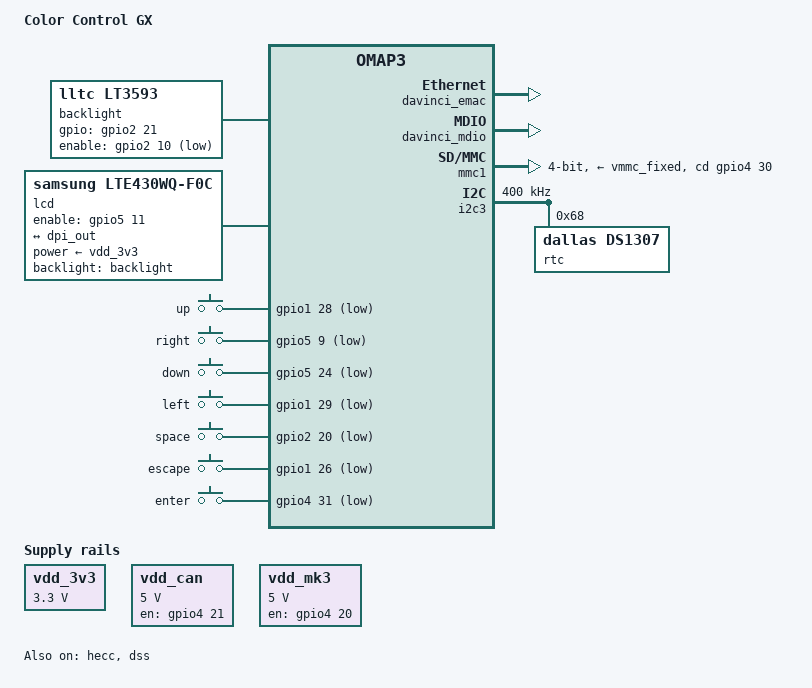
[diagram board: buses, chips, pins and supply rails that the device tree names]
/dts-v1/;

#include "am3517-tam3517.dtsi"
#include <dt-bindings/input/input.h>

/ {
	model = "Color Control GX";
	compatible = "technexion,am3517-tam3517", "ti,am3517", "ti,omap3";

	aliases {
		display0 = &lcd0;
	};

	reserved-memory {
		#address-cells = <1>;
		#size-cells = <1>;
		ranges;

		fb0_mem: framebuffer@8fe00000 {
			reg = <0x8fe00000 0x200000>;
			no-map;
		};
	};

	backlight: backlight {
		status = "okay";
		compatible = "lltc,lt3593";
		pinctrl-names = "default";
		pinctrl-0 = <&backlight_pins>;
		gpios = <&gpio2 21 GPIO_ACTIVE_HIGH>;
		enable-gpio = <&gpio2 10 GPIO_ACTIVE_LOW>;
		default-brightness-level = <31>;
		default-on;
	};

	lcd0: display@0 {
		compatible = "samsung,lte430wq-f0c", "panel-dpi";
		label = "lcd";

		pinctrl-names = "default";
		pinctrl-0 = <&lcd_pins>;
		enable-gpios = <&gpio5 11 GPIO_ACTIVE_HIGH>;	/* gpio_139 */
		power-supply = <&vdd_3v3>;

		backlight = <&backlight>;

		port {
			lcd_in: endpoint {
				remote-endpoint = <&dpi_out>;
			};
		};

		panel-timing {
			clock-frequency = <9000000>;
			hactive = <480>;
			vactive = <272>;
			hfront-porch = <3>;
			hback-porch = <2>;
			hsync-len = <42>;
			vback-porch = <2>;
			vfront-porch = <3>;
			vsync-len = <11>;

			hsync-active = <0>;
			vsync-active = <0>;
			de-active = <1>;
			pixelclk-active = <1>;
		};
	};

	gpio-keys {
		compatible = "gpio-keys";
		autorepeat;

		pinctrl-names = "default";
		pinctrl-0 = <&gpio_keys_pins &gpio_keys_pins2>;

		up {
			label = "up";
			gpios = <&gpio1 28 GPIO_ACTIVE_LOW>;	/* gpio_28 */
			linux,code = <KEY_UP>;
			gpio-key,wakeup;
		};

		right {
			label = "right";
			gpios = <&gpio5 9 GPIO_ACTIVE_LOW>;	/* gpio_137 */
			linux,code = <KEY_RIGHT>;
			gpio-key,wakeup;
		};

		down {
			label = "down";
			gpios = <&gpio5 24 GPIO_ACTIVE_LOW>;	/* gpio_152 */
			linux,code = <KEY_DOWN>;
			gpio-key,wakeup;
		};

		left {
			label = "left";
			gpios = <&gpio1 29 GPIO_ACTIVE_LOW>;	/* gpio_29 */
			linux,code = <KEY_LEFT>;
			gpio-key,wakeup;
		};

		middle {
			label = "space";
			gpios = <&gpio2 20 GPIO_ACTIVE_LOW>;	/* gpio_52 */
			linux,code = <KEY_SPACE>;
			gpio-key,wakeup;
		};

		escape {
			label = "escape";
			gpios = <&gpio1 26 GPIO_ACTIVE_LOW>;	/* gpio_26 */
			linux,code = <KEY_ESC>;
			gpio-key,wakeup;
		};

		enter {
			label = "enter";
			gpios = <&gpio4 31 GPIO_ACTIVE_LOW>;	/* gpio_127 */
			linux,code = <KEY_ENTER>;
			gpio-key,wakeup;
		};
	};

	vdd_3v3: regulator-vdd-3v3 {
		compatible = "regulator-fixed";
		regulator-name = "vdd_3v3";
		regulator-min-microvolt = <3300000>;
		regulator-max-microvolt = <3300000>;
		regulator-always-on;
	};

	vdd_can: regulator-vdd-can {
		compatible = "regulator-fixed";
		pinctrl-names = "default";
		pinctrl-0 = <&vdd_can_pins>;
		regulator-name = "vdd_can";
		regulator-min-microvolt = <5000000>;
		regulator-max-microvolt = <5000000>;
		gpio = <&gpio4 21 GPIO_ACTIVE_HIGH>;	/* gpio_117 */
		enable-active-high;
	};

	regulator-vdd-mk3 {
		compatible = "regulator-fixed";
		pinctrl-names = "default";
		pinctrl-0 = <&vdd_mk3_pins>;
		regulator-name = "vdd_mk3";
		regulator-min-microvolt = <5000000>;
		regulator-max-microvolt = <5000000>;
		regulator-boot-on;
		regulator-always-on;
		gpio = <&gpio4 20 GPIO_ACTIVE_HIGH>;	/* gpio_116 */
		enable-active-high;
	};
};

&omap3_pmx_core {
	pinctrl-names = "default";
	pinctrl-0 = <&gpio_pins>;

	gpio_pins: gpio_pins {
		pinctrl-single,pins = <
			/* buzzer */
			OMAP3_CORE1_IOPAD(0x207c, PIN_OUTPUT_PULLDOWN | MUX_MODE4)	/* gpio_35 */

			/* hw revision */
			OMAP3_CORE1_IOPAD(0x21e4, PIN_INPUT | MUX_MODE4)	/* gpio_94 */
			OMAP3_CORE1_IOPAD(0x21e8, PIN_INPUT | MUX_MODE4)	/* gpio_96 */
			OMAP3_CORE1_IOPAD(0x21ec, PIN_INPUT | MUX_MODE4)	/* gpio_98 */

			/* vebus_standby */
			OMAP3_CORE1_IOPAD(0x2186, PIN_OUTPUT_PULLUP | MUX_MODE4)	/* gpio_153 */

			/* mk3_rst */
			OMAP3_CORE1_IOPAD(0x218a, PIN_OUTPUT_PULLDOWN | MUX_MODE4)	/* gpio_155 */

			/* relay */
			OMAP3_CORE1_IOPAD(0x21de, PIN_OUTPUT_PULLDOWN | MUX_MODE4)	/* gpio_182 */
		>;
	};

	backlight_pins: backlight_pins {
		pinctrl-single,pins = <
			OMAP3_CORE1_IOPAD(0x208A, PIN_OUTPUT | MUX_MODE4)	/* gpmc_a9.gpio_42 */
			OMAP3_CORE1_IOPAD(0x20B2, PIN_OUTPUT | MUX_MODE4)	/* gpmc_ncs2.gpio_53 */
		>;
	};

	gpio_keys_pins: gpio_keys_pins {
		pinctrl-single,pins = <
			OMAP3_CORE1_IOPAD(0x20B0, PIN_INPUT_PULLUP | MUX_MODE4) /* gpio_52, middle */
			OMAP3_CORE1_IOPAD(0x2166, PIN_INPUT_PULLUP | MUX_MODE4) /* gpio_137, right */
			OMAP3_CORE1_IOPAD(0x2184, PIN_INPUT_PULLUP | MUX_MODE4) /* gpio_152, down */
			OMAP3_CORE1_IOPAD(0x2152, PIN_INPUT_PULLUP | MUX_MODE4) /* gpio_127, enter */
		>;
	};

	i2c3_pins: i2c3_pins {
		pinctrl-single,pins = <
			OMAP3_CORE1_IOPAD(0x21c2, PIN_INPUT_PULLUP | MUX_MODE0) /* i2c3_scl.i2c3_scl */
			OMAP3_CORE1_IOPAD(0x21c4, PIN_INPUT_PULLUP | MUX_MODE0) /* i2c3_sda.i2c3_sda */
		>;
	};

	mmc1_pins: mmc1_pins {
		pinctrl-single,pins = <
			OMAP3_CORE1_IOPAD(0x2144, PIN_INPUT_PULLUP | MUX_MODE0)	/* sdmmc1_clk.sdmmc1_clk */
			OMAP3_CORE1_IOPAD(0x2146, PIN_INPUT_PULLUP | MUX_MODE0)	/* sdmmc1_cmd.sdmmc1_cmd */
			OMAP3_CORE1_IOPAD(0x2148, PIN_INPUT_PULLUP | MUX_MODE0)	/* sdmmc1_dat0.sdmmc1_dat0 */
			OMAP3_CORE1_IOPAD(0x214a, PIN_INPUT_PULLUP | MUX_MODE0)	/* sdmmc1_dat1.sdmmc1_dat1 */
			OMAP3_CORE1_IOPAD(0x214c, PIN_INPUT_PULLUP | MUX_MODE0)	/* sdmmc1_dat2.sdmmc1_dat2 */
			OMAP3_CORE1_IOPAD(0x214e, PIN_INPUT_PULLUP | MUX_MODE0)	/* sdmmc1_dat3.sdmmc1_dat3 */
			OMAP3_CORE1_IOPAD(0x2150, PIN_INPUT_PULLUP | MUX_MODE4)	/* sdmmc1_dat4.gpio_126 */
		>;
	};

	dss_dpi_pins: dss_dpi_pins {
		pinctrl-single,pins = <
			OMAP3_CORE1_IOPAD(0x20d4, PIN_OUTPUT | MUX_MODE0)   /* dss_pclk.dss_pclk */
			OMAP3_CORE1_IOPAD(0x20d6, PIN_OUTPUT | MUX_MODE0)   /* dss_hsync.dss_hsync */
			OMAP3_CORE1_IOPAD(0x20d8, PIN_OUTPUT | MUX_MODE0)   /* dss_vsync.dss_vsync */
			OMAP3_CORE1_IOPAD(0x20da, PIN_OUTPUT | MUX_MODE0)   /* dss_acbias.dss_acbias */
			OMAP3_CORE1_IOPAD(0x20dc, PIN_OUTPUT | MUX_MODE0)   /* dss_data0.dss_data0 */
			OMAP3_CORE1_IOPAD(0x20de, PIN_OUTPUT | MUX_MODE0)   /* dss_data1.dss_data1 */
			OMAP3_CORE1_IOPAD(0x20e0, PIN_OUTPUT | MUX_MODE0)   /* dss_data2.dss_data2 */
			OMAP3_CORE1_IOPAD(0x20e2, PIN_OUTPUT | MUX_MODE0)   /* dss_data3.dss_data3 */
			OMAP3_CORE1_IOPAD(0x20e4, PIN_OUTPUT | MUX_MODE0)   /* dss_data4.dss_data4 */
			OMAP3_CORE1_IOPAD(0x20e6, PIN_OUTPUT | MUX_MODE0)   /* dss_data5.dss_data5 */
			OMAP3_CORE1_IOPAD(0x20e8, PIN_OUTPUT | MUX_MODE0)   /* dss_data6.dss_data6 */
			OMAP3_CORE1_IOPAD(0x20ea, PIN_OUTPUT | MUX_MODE0)   /* dss_data7.dss_data7 */
			OMAP3_CORE1_IOPAD(0x20ec, PIN_OUTPUT | MUX_MODE0)   /* dss_data8.dss_data8 */
			OMAP3_CORE1_IOPAD(0x20ee, PIN_OUTPUT | MUX_MODE0)   /* dss_data9.dss_data9 */
			OMAP3_CORE1_IOPAD(0x20f0, PIN_OUTPUT | MUX_MODE0)   /* dss_data10.dss_data10 */
			OMAP3_CORE1_IOPAD(0x20f2, PIN_OUTPUT | MUX_MODE0)   /* dss_data11.dss_data11 */
			OMAP3_CORE1_IOPAD(0x20f4, PIN_OUTPUT | MUX_MODE0)   /* dss_data12.dss_data12 */
			OMAP3_CORE1_IOPAD(0x20f6, PIN_OUTPUT | MUX_MODE0)   /* dss_data13.dss_data13 */
			OMAP3_CORE1_IOPAD(0x20f8, PIN_OUTPUT | MUX_MODE0)   /* dss_data14.dss_data14 */
			OMAP3_CORE1_IOPAD(0x20fa, PIN_OUTPUT | MUX_MODE0)   /* dss_data15.dss_data15 */
			OMAP3_CORE1_IOPAD(0x20fc, PIN_OUTPUT | MUX_MODE0)   /* dss_data16.dss_data16 */
			OMAP3_CORE1_IOPAD(0x20fe, PIN_OUTPUT | MUX_MODE0)   /* dss_data17.dss_data17 */
			OMAP3_CORE1_IOPAD(0x2100, PIN_OUTPUT | MUX_MODE0)   /* dss_data18.dss_data18 */
			OMAP3_CORE1_IOPAD(0x2102, PIN_OUTPUT | MUX_MODE0)   /* dss_data19.dss_data19 */
			OMAP3_CORE1_IOPAD(0x2104, PIN_OUTPUT | MUX_MODE0)   /* dss_data20.dss_data20 */
			OMAP3_CORE1_IOPAD(0x2106, PIN_OUTPUT | MUX_MODE0)   /* dss_data21.dss_data21 */
			OMAP3_CORE1_IOPAD(0x2108, PIN_OUTPUT | MUX_MODE0)   /* dss_data22.dss_data22 */
			OMAP3_CORE1_IOPAD(0x210a, PIN_OUTPUT | MUX_MODE0)   /* dss_data23.dss_data23 */
		>;
	};

	lcd_pins: lcd_pins {
		pinctrl-single,pins = <
			OMAP3_CORE1_IOPAD(0x216a, PIN_OUTPUT | MUX_MODE4)	/* sdmmc2_dat7.gpio_139 */
		>;
	};

	hecc_pins: hecc_pins {
		pinctrl-single,pins = <
			OMAP3_CORE1_IOPAD(0x2214, PIN_OUTPUT | MUX_MODE0)		/* hecc1_txd.hecc1_txd */
			OMAP3_CORE1_IOPAD(0x2216, PIN_INPUT | MUX_MODE0)		/* hecc1_rxd.hecc1_rxd */
		>;
	};

	vdd_can_pins: vdd_can_pins {
		pinctrl-single,pins = <
			OMAP3_CORE1_IOPAD(0x213e, PIN_OUTPUT | MUX_MODE4)	/* mcbsp2_clkx.gpio_117 */
		>;
	};

	vdd_mk3_pins: vdd_mk3_pins {
		pinctrl-single,pins = <
			OMAP3_CORE1_IOPAD(0x213c, PIN_OUTPUT | MUX_MODE4)	/* mcbsp2_fsx.gpio_116 */
		>;
	};

	uart2_pins: uart2_pins {
		pinctrl-single,pins = <
			OMAP3_CORE1_IOPAD(0x217a, PIN_INPUT | MUX_MODE0)		/* uart2_rx */
			OMAP3_CORE1_IOPAD(0x2178, PIN_OUTPUT | MUX_MODE0)		/* uart2_tx */
		>;
	};

	uart3_pins: uart3_pins {
		pinctrl-single,pins = <
			OMAP3_CORE1_IOPAD(0x219e, PIN_INPUT | MUX_MODE0)		/* uart3_rx */
			OMAP3_CORE1_IOPAD(0x21a0, PIN_OUTPUT | MUX_MODE0)		/* uart3_tx */
		>;
	};
};

&omap3_pmx_core2 {
	gpio_keys_pins2: gpio_keys_pins2 {
		pinctrl-single,pins = <
			OMAP3430_CORE2_IOPAD(0x25F4, PIN_INPUT_PULLUP | MUX_MODE4)	/* gpio_26, esc */
			OMAP3430_CORE2_IOPAD(0x25F8, PIN_INPUT_PULLUP | MUX_MODE4)	/* gpio_28, up */
			OMAP3430_CORE2_IOPAD(0x25FA, PIN_INPUT_PULLUP | MUX_MODE4)	/* gpio_29, left */
		>;
	};
};

&hecc {
	status = "ok";
	pinctrl-names = "default";
	pinctrl-0 = <&hecc_pins>;
	xceiver-supply = <&vdd_can>;
};

&davinci_emac {
	status = "ok";
};

&davinci_mdio {
	status = "ok";
};

&dss {
	status = "ok";
	pinctrl-names = "default";
	pinctrl-0 = <&dss_dpi_pins>;
	memory-region = <&fb0_mem>;

	port {
		dpi_out: endpoint {
			remote-endpoint = <&lcd_in>;
			data-lines = <24>;
		};
	};
};

&mmc1 {
	status = "ok";
	vmmc-supply = <&vmmc_fixed>;
	bus-width = <4>;
	pinctrl-names = "default";
	pinctrl-0 = <&mmc1_pins>;
	cd-gpios = <&gpio4 30 GPIO_ACTIVE_HIGH>; /* gpio_126 */
};

&mmc2 {
	status = "disabled";
};

&mmc3 {
	status = "disabled";
};

&i2c3 {
	status = "okay";
	pinctrl-names = "default";
	clock-frequency = <400000>;
	pinctrl-0 = <&i2c3_pins>;

	rtc@68 {
		compatible = "dallas,ds1307";
		reg = <0x68>;
	};
};

&uart2 {
	interrupts-extended = <&intc 73 &omap3_pmx_core OMAP3_UART2_RX>;
	pinctrl-names = "default";
	pinctrl-0 = <&uart2_pins>;
};

&uart3 {
	interrupts-extended = <&intc 74 &omap3_pmx_core OMAP3_UART3_RX>;
	pinctrl-names = "default";
	pinctrl-0 = <&uart3_pins>;
};

&nand {
	partition@0 {
		label = "spl1";
		reg = <0x0 0x20000>;
	};

	partition@1 {
		label = "spl2";
		reg = <0x20000 0x20000>;
	};

	partition@2 {
		label = "spl3";
		reg = <0x40000 0x20000>;
	};

	partition@3 {
		label = "spl4";
		reg = <0x60000 0x20000>;
	};

	partition@4 {
		label = "u-boot";
		reg = <0x80000 0x100000>;
	};

	partition@5 {
		label = "env1";
		reg = <0x00180000 0x00040000>;
	};

	partition@6 {
		label = "env2";
		reg = <0x001c0000 0x00040000>;
	};

	partition@7 {
		label = "u-boot2";
		reg = <0x00200000 0x00100000>;
	};

	partition@8 {
		label = "bootparms";
		reg = <0x00300000 0x00040000>;
	};

	partition@9 {
		label = "splash";
		reg = <0x00340000 0x000c0000>;
	};

	partition@10 {
		label = "kernel1";
		reg = <0x00400000 0x00600000>;
	};

	partition@11 {
		label = "kernel2";
		reg = <0x00a00000 0x00600000>;
	};

	partition@12 {
		label = "ubisystem";
		reg = <0x01000000 0x1f000000>;
	};
};

&gpio2 {
	gpio-line-names = "buzzer";
	gpio-line-numbers = <3>;
};

&gpio3 {
	gpio-line-names = "hwrev_0";
	gpio-line-numbers = <30>;
};

&gpio4 {
	gpio-line-names = "hwrev_2", "hwrev_1";
	gpio-line-numbers = <0>, <2>;
};

&gpio5 {
	gpio-line-names = "vebus_standby", "mkx_rst";
	gpio-line-numbers = <25>, <27>;
};

&gpio6 {
	gpio-line-names = "relay_1";
	gpio-line-numbers = <22>;
};
